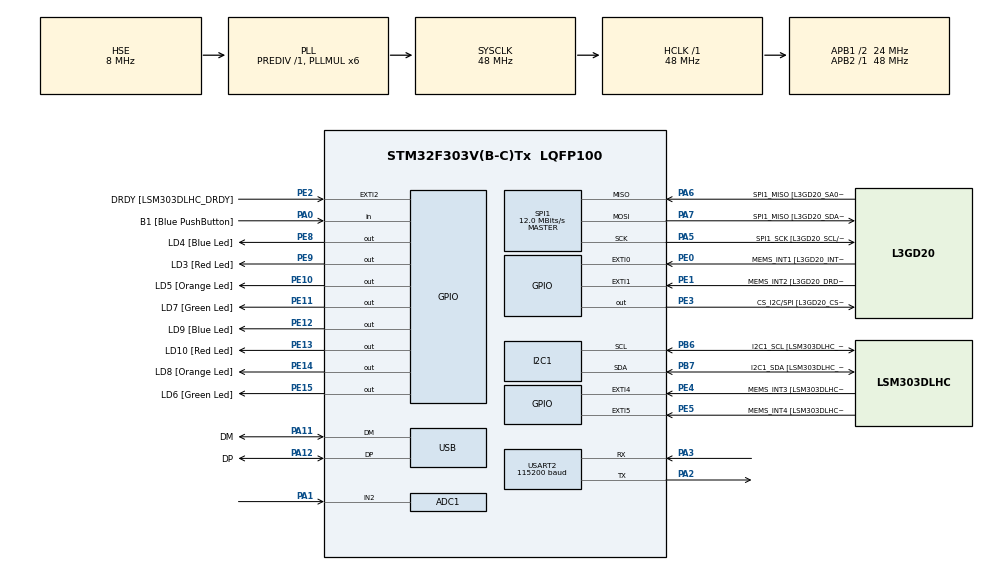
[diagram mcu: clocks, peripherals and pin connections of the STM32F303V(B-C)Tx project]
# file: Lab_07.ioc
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ADC1.Channel-0\#ChannelRegularConversion=ADC_CHANNEL_2
ADC1.ContinuousConvMode=ENABLE
ADC1.NbrOfConversionFlag=1
ADC1.Offset-0\#ChannelRegularConversion=0
ADC1.OffsetNumber-0\#ChannelRegularConversion=ADC_OFFSET_NONE
ADC1.Rank-0\#ChannelRegularConversion=1
ADC1.SamplingTime-0\#ChannelRegularConversion=ADC_SAMPLETIME_1CYCLE_5
ADC1.SamplingTimeOPAMP-0\#ChannelRegularConversion=ADC_SAMPLETIME_19CYCLES_5
ADC1.master=1
I2C1.Timing=0x00201D2B
I2C1.Timing-I2C=0x2000090E
Mcu.Family=STM32F3
Mcu.Name=STM32F303V(B-C)Tx
Mcu.Package=LQFP100
NVIC.ADC1_2_IRQn=true\:0\:0\:false\:false\:true\:true\:true\:true
NVIC.PriorityGroup=NVIC_PRIORITYGROUP_0
PA0.GPIO_Label=B1 [Blue PushButton]
PA0.Signal=GPIO_Input
PA1.Mode=IN2-Single-Ended
PA1.Signal=ADC1_IN2
PA11.GPIO_Label=DM
PA11.Mode=Device
PA11.Signal=USB_DM
PA12.GPIO_Label=DP
PA12.Mode=Device
PA12.Signal=USB_DP
PA13.GPIO_Label=SWDIO
PA13.Mode=Serial_Wire
PA13.Signal=SYS_JTMS-SWDIO
PA14.GPIO_Label=SWCLK
PA14.Mode=Serial_Wire
PA14.Signal=SYS_JTCK-SWCLK
PA2.Mode=Asynchronous
PA2.Signal=USART2_TX
PA3.Mode=Asynchronous
PA3.Signal=USART2_RX
PA5.GPIO_Label=SPI1_SCK [L3GD20_SCL/SPC]
PA5.Mode=Full_Duplex_Master
PA5.Signal=SPI1_SCK
PA6.GPIO_Label=SPI1_MISO [L3GD20_SA0/SDO]
PA6.Mode=Full_Duplex_Master
PA6.Signal=SPI1_MISO
PA7.GPIO_Label=SPI1_MISO [L3GD20_SDA/SDI/SDO]
PA7.Mode=Full_Duplex_Master
PA7.Signal=SPI1_MOSI
PB3.GPIO_Label=SWO
PB3.Signal=SYS_JTDO-TRACESWO
PB6.GPIO_Label=I2C1_SCL [LSM303DLHC_SCL]
PB6.GPIO_Pu=GPIO_PULLUP
PB6.Mode=I2C
PB6.Signal=I2C1_SCL
PB7.GPIO_Label=I2C1_SDA [LSM303DLHC_SDA]
PB7.GPIO_Pu=GPIO_PULLUP
PB7.Mode=I2C
PB7.Signal=I2C1_SDA
PC14-OSC32_IN.GPIO_Label=OSC32_IN
PC14-OSC32_IN.Signal=RCC_OSC32_IN
PC15-OSC32_OUT.GPIO_Label=OSC32_OUT
PC15-OSC32_OUT.Signal=RCC_OSC32_OUT
PE0.GPIO_Label=MEMS_INT1 [L3GD20_INT1]
PE0.GPIO_ModeDefaultEXTI=GPIO_MODE_EVT_RISING
PE0.Signal=GPXTI0
PE1.GPIO_Label=MEMS_INT2 [L3GD20_DRDY/INT2]
PE1.GPIO_ModeDefaultEXTI=GPIO_MODE_EVT_RISING
PE1.Signal=GPXTI1
PE10.GPIO_Label=LD5 [Orange Led]
PE10.Signal=GPIO_Output
PE11.GPIO_Label=LD7 [Green Led]
PE11.Signal=GPIO_Output
PE12.GPIO_Label=LD9 [Blue Led]
PE12.Signal=GPIO_Output
PE13.GPIO_Label=LD10 [Red Led]
PE13.Signal=GPIO_Output
PE14.GPIO_Label=LD8 [Orange Led]
PE14.Signal=GPIO_Output
PE15.GPIO_Label=LD6 [Green Led]
PE15.Signal=GPIO_Output
PE2.GPIO_Label=DRDY [LSM303DLHC_DRDY]
PE2.GPIO_ModeDefaultEXTI=GPIO_MODE_EVT_RISING
PE2.Signal=GPXTI2
PE3.GPIO_Label=CS_I2C/SPI [L3GD20_CS_I2C/SPI]
PE3.Signal=GPIO_Output
PE4.GPIO_Label=MEMS_INT3 [LSM303DLHC_INT1]
PE4.GPIO_ModeDefaultEXTI=GPIO_MODE_EVT_RISING
PE4.Signal=GPXTI4
PE5.GPIO_Label=MEMS_INT4 [LSM303DLHC_INT2]
PE5.GPIO_ModeDefaultEXTI=GPIO_MODE_EVT_RISING
PE5.Signal=GPXTI5
PE8.GPIO_Label=LD4 [Blue Led]
PE8.Signal=GPIO_Output
PE9.GPIO_Label=LD3 [Red Led]
PE9.Signal=GPIO_Output
PF0-OSC_IN.GPIO_Label=OSC_IN
PF0-OSC_IN.Mode=HSE-External-Clock-Source
PF0-OSC_IN.Signal=RCC_OSC_IN
PF1-OSC_OUT.GPIO_Label=OSC_OUT
PF1-OSC_OUT.Signal=RCC_OSC_OUT
ProjectManager.HeapSize=0x200
ProjectManager.StackSize=0x400
ProjectManager.TargetToolchain=CMake
RCC.AHBFreq_Value=48000000
RCC.APB1CLKDivider=RCC_HCLK_DIV2
RCC.APB1Freq_Value=24000000
RCC.APB1TimFreq_Value=48000000
RCC.APB2Freq_Value=48000000
RCC.APB2TimFreq_Value=48000000
RCC.CortexFreq_Value=48000000
RCC.HCLKFreq_Value=48000000
RCC.HSE_VALUE=8000000
RCC.HSI_VALUE=8000000
RCC.LSE_VALUE=32768
RCC.PLLMUL=RCC_PLL_MUL6
RCC.SYSCLKFreq_VALUE=48000000
RCC.SYSCLKSourceVirtual=RCC_SYSCLKSOURCE_PLLCLK
RCC.USBFreq_Value=48000000
SPI1.BaudRatePrescaler=SPI_BAUDRATEPRESCALER_4
SPI1.BaudRatePrescaler-Full_Duplex_Master=SPI_BAUDRATEPRESCALER_2
SPI1.CalculateBaudRate=12.0 MBits/s
SPI1.CalculateBaudRate-Full_Duplex_Master=24.0 MBits/s
SPI1.Direction=SPI_DIRECTION_2LINES
SPI1.Mode=SPI_MODE_MASTER
SPI1.Mode-Full_Duplex_Master=SPI_MODE_MASTER
SPI1.VirtualType=VM_MASTER
USART2.BaudRate=115200
USART2.VirtualMode-Asynchronous=VM_ASYNC
board=STM32F3DISCOVERY

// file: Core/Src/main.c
/* USER CODE BEGIN Header */
/**
  ******************************************************************************
  * @file           : main.c
  * @brief          : Main program body
  ******************************************************************************
  * @attention
  *
  * Copyright (c) 2026 STMicroelectronics.
  * All rights reserved.
  *
  * This software is licensed under terms that can be found in the LICENSE file
  * in the root directory of this software component.
  * If no LICENSE file comes with this software, it is provided AS-IS.
  *
  ******************************************************************************
  */
/* USER CODE END Header */
#include "main.h"

/* USER CODE BEGIN Includes */
#include <stdio.h>
#include <string.h>
#include <stdarg.h>

/* USER CODE END Includes */

ADC_HandleTypeDef hadc1;

I2C_HandleTypeDef hi2c1;

SPI_HandleTypeDef hspi1;

UART_HandleTypeDef huart2;

PCD_HandleTypeDef hpcd_USB_FS;

/* USER CODE BEGIN PV */
volatile uint16_t adc_raw ;

/* USER CODE END PV */

void SystemClock_Config(void);
static void MX_GPIO_Init(void);
static void MX_ADC1_Init(void);
static void MX_I2C1_Init(void);
static void MX_SPI1_Init(void);
static void MX_USB_PCD_Init(void);
static void MX_USART2_UART_Init(void);

/* USER CODE BEGIN 0 */

void myprintf(const char *fmt, ...)
{
   char buffer[128];
   va_list args;

   va_start(args, fmt);
   vsnprintf(buffer, sizeof(buffer), fmt, args);
   va_end(args);

   HAL_UART_Transmit(&huart2, (uint8_t*)buffer, strlen(buffer), HAL_MAX_DELAY);
}

void HAL_ADC_ConvCpltCallback(ADC_HandleTypeDef *hadc)
{
   if (hadc->Instance == ADC1)
   {
       adc_raw = (uint16_t)HAL_ADC_GetValue(hadc);
      uint32_t vin_mv = ((uint32_t)adc_raw * 3000U) / 4095;

   myprintf("D=%u  Vin=%lu mV\r\n", adc_raw, vin_mv);

   HAL_Delay(50);

   }
}

/* USER CODE END 0 */

int main(void)
{

  /* MCU Configuration--------------------------------------------------------*/

  /* Reset of all peripherals, Initializes the Flash interface and the Systick. */
 HAL_Init();

  /* Configure the system clock */
  SystemClock_Config();

  /* Initialize all configured peripherals */
  MX_GPIO_Init();
  MX_ADC1_Init();
  MX_I2C1_Init();
  MX_SPI1_Init();
  MX_USB_PCD_Init();
  MX_USART2_UART_Init();
  /* USER CODE BEGIN 2 */
  //HAL_ADC_Start_IT(&hadc1);
  HAL_ADC_Start_IT(&hadc1);
  /* USER CODE END 2 */

  /* Infinite loop */
  /* USER CODE BEGIN WHILE */

  while (1)
{
  // uint32_t vin_mv = ((uint32_t)adc_raw * 3000U) / 4095;

  //  myprintf("D=%u  Vin=%lu mV\r\n", adc_raw, vin_mv);

  //  HAL_Delay(50);

//   myprintf("HELLO\r\n");
// HAL_Delay(1000);

  // HAL_ADC_Start(&hadc1);

  // HAL_ADC_PollForConversion(&hadc1, HAL_MAX_DELAY);

  // adc_raw = (uint16_t)HAL_ADC_GetValue(&hadc1);

  // HAL_ADC_Stop(&hadc1);

  // uint32_t mv = ((uint32_t)adc_raw * 3300U) / 4095U;

  // myprintf("ADC=%u V=%lu mV\r\n", adc_raw, mv);

  // HAL_Delay(200);
// myprintf("Hello World!!!!!!!\r\n");
// HAL_Delay(1000);

}

  /* USER CODE END 3 */
}

void SystemClock_Config(void)
{
  RCC_OscInitTypeDef RCC_OscInitStruct = {0};
  RCC_ClkInitTypeDef RCC_ClkInitStruct = {0};
  RCC_PeriphCLKInitTypeDef PeriphClkInit = {0};

  /** Initializes the RCC Oscillators according to the specified parameters
  * in the RCC_OscInitTypeDef structure.
  */
  RCC_OscInitStruct.OscillatorType = RCC_OSCILLATORTYPE_HSI|RCC_OSCILLATORTYPE_HSE;
  RCC_OscInitStruct.HSEState = RCC_HSE_BYPASS;
  RCC_OscInitStruct.HSEPredivValue = RCC_HSE_PREDIV_DIV1;
  RCC_OscInitStruct.HSIState = RCC_HSI_ON;
  RCC_OscInitStruct.HSICalibrationValue = RCC_HSICALIBRATION_DEFAULT;
  RCC_OscInitStruct.PLL.PLLState = RCC_PLL_ON;
  RCC_OscInitStruct.PLL.PLLSource = RCC_PLLSOURCE_HSE;
  RCC_OscInitStruct.PLL.PLLMUL = RCC_PLL_MUL6;
  if (HAL_RCC_OscConfig(&RCC_OscInitStruct) != HAL_OK)
  {
    Error_Handler();
  }

  /** Initializes the CPU, AHB and APB buses clocks
  */
  RCC_ClkInitStruct.ClockType = RCC_CLOCKTYPE_HCLK|RCC_CLOCKTYPE_SYSCLK
                              |RCC_CLOCKTYPE_PCLK1|RCC_CLOCKTYPE_PCLK2;
  RCC_ClkInitStruct.SYSCLKSource = RCC_SYSCLKSOURCE_PLLCLK;
  RCC_ClkInitStruct.AHBCLKDivider = RCC_SYSCLK_DIV1;
  RCC_ClkInitStruct.APB1CLKDivider = RCC_HCLK_DIV2;
  RCC_ClkInitStruct.APB2CLKDivider = RCC_HCLK_DIV1;

  if (HAL_RCC_ClockConfig(&RCC_ClkInitStruct, FLASH_LATENCY_1) != HAL_OK)
  {
    Error_Handler();
  }
  PeriphClkInit.PeriphClockSelection = RCC_PERIPHCLK_USB|RCC_PERIPHCLK_USART2
                              |RCC_PERIPHCLK_I2C1|RCC_PERIPHCLK_ADC12;
  PeriphClkInit.Usart2ClockSelection = RCC_USART2CLKSOURCE_PCLK1;
  PeriphClkInit.Adc12ClockSelection = RCC_ADC12PLLCLK_DIV1;
  PeriphClkInit.I2c1ClockSelection = RCC_I2C1CLKSOURCE_HSI;
  PeriphClkInit.USBClockSelection = RCC_USBCLKSOURCE_PLL;
  if (HAL_RCCEx_PeriphCLKConfig(&PeriphClkInit) != HAL_OK)
  {
    Error_Handler();
  }
}

static void MX_ADC1_Init(void)
{

  ADC_MultiModeTypeDef multimode = {0};
  ADC_ChannelConfTypeDef sConfig = {0};

  /** Common config
  */
  hadc1.Instance = ADC1;
  hadc1.Init.ClockPrescaler = ADC_CLOCK_ASYNC_DIV1;
  hadc1.Init.Resolution = ADC_RESOLUTION_12B;
  hadc1.Init.ScanConvMode = ADC_SCAN_DISABLE;
  hadc1.Init.ContinuousConvMode = ENABLE;
  hadc1.Init.DiscontinuousConvMode = DISABLE;
  hadc1.Init.ExternalTrigConvEdge = ADC_EXTERNALTRIGCONVEDGE_RISING;
  hadc1.Init.ExternalTrigConv = ADC_EXTERNALTRIGCONV_T6_TRGO;
  hadc1.Init.DataAlign = ADC_DATAALIGN_RIGHT;
  hadc1.Init.NbrOfConversion = 1;
  hadc1.Init.DMAContinuousRequests = DISABLE;
  hadc1.Init.EOCSelection = ADC_EOC_SINGLE_CONV;
  hadc1.Init.LowPowerAutoWait = DISABLE;
  hadc1.Init.Overrun = ADC_OVR_DATA_OVERWRITTEN;
  if (HAL_ADC_Init(&hadc1) != HAL_OK)
  {
    Error_Handler();
  }

  /** Configure the ADC multi-mode
  */
  multimode.Mode = ADC_MODE_INDEPENDENT;
  if (HAL_ADCEx_MultiModeConfigChannel(&hadc1, &multimode) != HAL_OK)
  {
    Error_Handler();
  }

  /** Configure Regular Channel
  */
  sConfig.Channel = ADC_CHANNEL_2;
  sConfig.Rank = ADC_REGULAR_RANK_1;
  sConfig.SingleDiff = ADC_SINGLE_ENDED;
  sConfig.SamplingTime = ADC_SAMPLETIME_1CYCLE_5;
  sConfig.OffsetNumber = ADC_OFFSET_NONE;
  sConfig.Offset = 0;
  if (HAL_ADC_ConfigChannel(&hadc1, &sConfig) != HAL_OK)
  {
    Error_Handler();
  }

}

static void MX_I2C1_Init(void)
{

  hi2c1.Instance = I2C1;
  hi2c1.Init.Timing = 0x00201D2B;
  hi2c1.Init.OwnAddress1 = 0;
  hi2c1.Init.AddressingMode = I2C_ADDRESSINGMODE_7BIT;
  hi2c1.Init.DualAddressMode = I2C_DUALADDRESS_DISABLE;
  hi2c1.Init.OwnAddress2 = 0;
  hi2c1.Init.OwnAddress2Masks = I2C_OA2_NOMASK;
  hi2c1.Init.GeneralCallMode = I2C_GENERALCALL_DISABLE;
  hi2c1.Init.NoStretchMode = I2C_NOSTRETCH_DISABLE;
  if (HAL_I2C_Init(&hi2c1) != HAL_OK)
  {
    Error_Handler();
  }

  /** Configure Analogue filter
  */
  if (HAL_I2CEx_ConfigAnalogFilter(&hi2c1, I2C_ANALOGFILTER_ENABLE) != HAL_OK)
  {
    Error_Handler();
  }

  /** Configure Digital filter
  */
  if (HAL_I2CEx_ConfigDigitalFilter(&hi2c1, 0) != HAL_OK)
  {
    Error_Handler();
  }

}

static void MX_SPI1_Init(void)
{

  /* SPI1 parameter configuration*/
  hspi1.Instance = SPI1;
  hspi1.Init.Mode = SPI_MODE_MASTER;
  hspi1.Init.Direction = SPI_DIRECTION_2LINES;
  hspi1.Init.DataSize = SPI_DATASIZE_4BIT;
  hspi1.Init.CLKPolarity = SPI_POLARITY_LOW;
  hspi1.Init.CLKPhase = SPI_PHASE_1EDGE;
  hspi1.Init.NSS = SPI_NSS_SOFT;
  hspi1.Init.BaudRatePrescaler = SPI_BAUDRATEPRESCALER_4;
  hspi1.Init.FirstBit = SPI_FIRSTBIT_MSB;
  hspi1.Init.TIMode = SPI_TIMODE_DISABLE;
  hspi1.Init.CRCCalculation = SPI_CRCCALCULATION_DISABLE;
  hspi1.Init.CRCPolynomial = 7;
  hspi1.Init.CRCLength = SPI_CRC_LENGTH_DATASIZE;
  hspi1.Init.NSSPMode = SPI_NSS_PULSE_ENABLE;
  if (HAL_SPI_Init(&hspi1) != HAL_OK)
  {
    Error_Handler();
  }

}

static void MX_USART2_UART_Init(void)
{

  huart2.Instance = USART2;
  huart2.Init.BaudRate = 115200;
  huart2.Init.WordLength = UART_WORDLENGTH_8B;
  huart2.Init.StopBits = UART_STOPBITS_1;
  huart2.Init.Parity = UART_PARITY_NONE;
  huart2.Init.Mode = UART_MODE_TX_RX;
  huart2.Init.HwFlowCtl = UART_HWCONTROL_NONE;
  huart2.Init.OverSampling = UART_OVERSAMPLING_16;
  huart2.Init.OneBitSampling = UART_ONE_BIT_SAMPLE_DISABLE;
  huart2.AdvancedInit.AdvFeatureInit = UART_ADVFEATURE_NO_INIT;
  if (HAL_UART_Init(&huart2) != HAL_OK)
  {
    Error_Handler();
  }

}

static void MX_USB_PCD_Init(void)
{

  hpcd_USB_FS.Instance = USB;
  hpcd_USB_FS.Init.dev_endpoints = 8;
  hpcd_USB_FS.Init.speed = PCD_SPEED_FULL;
  hpcd_USB_FS.Init.phy_itface = PCD_PHY_EMBEDDED;
  hpcd_USB_FS.Init.low_power_enable = DISABLE;
  hpcd_USB_FS.Init.battery_charging_enable = DISABLE;
  if (HAL_PCD_Init(&hpcd_USB_FS) != HAL_OK)
  {
    Error_Handler();
  }

}

static void MX_GPIO_Init(void)
{
  GPIO_InitTypeDef GPIO_InitStruct = {0};

  /* GPIO Ports Clock Enable */
  __HAL_RCC_GPIOE_CLK_ENABLE();
  __HAL_RCC_GPIOC_CLK_ENABLE();
  __HAL_RCC_GPIOF_CLK_ENABLE();
  __HAL_RCC_GPIOA_CLK_ENABLE();
  __HAL_RCC_GPIOB_CLK_ENABLE();

  /*Configure GPIO pin Output Level */
  HAL_GPIO_WritePin(GPIOE, CS_I2C_SPI_Pin|LD4_Pin|LD3_Pin|LD5_Pin
                          |LD7_Pin|LD9_Pin|LD10_Pin|LD8_Pin
                          |LD6_Pin, GPIO_PIN_RESET);

  /*Configure GPIO pins : DRDY_Pin MEMS_INT3_Pin MEMS_INT4_Pin MEMS_INT1_Pin
                           MEMS_INT2_Pin */
  GPIO_InitStruct.Pin = DRDY_Pin|MEMS_INT3_Pin|MEMS_INT4_Pin|MEMS_INT1_Pin
                          |MEMS_INT2_Pin;
  GPIO_InitStruct.Mode = GPIO_MODE_EVT_RISING;
  GPIO_InitStruct.Pull = GPIO_NOPULL;
  HAL_GPIO_Init(GPIOE, &GPIO_InitStruct);

  /*Configure GPIO pins : CS_I2C_SPI_Pin LD4_Pin LD3_Pin LD5_Pin
                           LD7_Pin LD9_Pin LD10_Pin LD8_Pin
                           LD6_Pin */
  GPIO_InitStruct.Pin = CS_I2C_SPI_Pin|LD4_Pin|LD3_Pin|LD5_Pin
                          |LD7_Pin|LD9_Pin|LD10_Pin|LD8_Pin
                          |LD6_Pin;
  GPIO_InitStruct.Mode = GPIO_MODE_OUTPUT_PP;
  GPIO_InitStruct.Pull = GPIO_NOPULL;
  GPIO_InitStruct.Speed = GPIO_SPEED_FREQ_LOW;
  HAL_GPIO_Init(GPIOE, &GPIO_InitStruct);

  /*Configure GPIO pin : B1_Pin */
  GPIO_InitStruct.Pin = B1_Pin;
  GPIO_InitStruct.Mode = GPIO_MODE_INPUT;
  GPIO_InitStruct.Pull = GPIO_NOPULL;
  HAL_GPIO_Init(B1_GPIO_Port, &GPIO_InitStruct);

}

void Error_Handler(void)
{
  __disable_irq();
  while (1)
  {
  }
}
